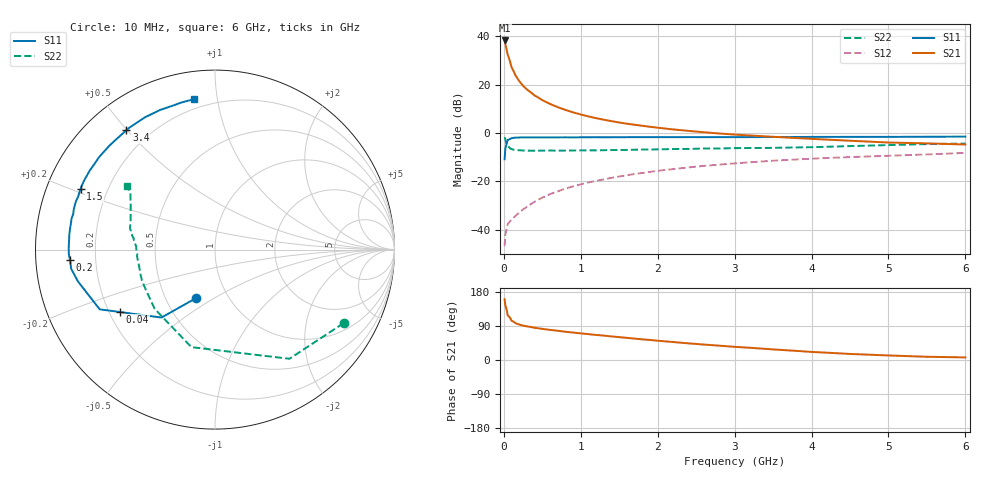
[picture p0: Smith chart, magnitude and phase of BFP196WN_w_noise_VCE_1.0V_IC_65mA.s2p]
! Infineon Technologies  Discrete & RF Semiconductors
! BFP196WN
! VCE =  1.0 V,  IC =  65 mA
! Common Emitter S-Parameters:  Jan 2017
# GHz  S  MA  R  50
!  f  S11  S21  S12  S22
! GHz  MAG  ANG  MAG  ANG  MAG  ANG  MAG  ANG
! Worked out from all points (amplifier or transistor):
!   77 points, 10 MHz to 6 GHz, reference 50 ohm
!   highest |S21| = 38.3 dB at 10 MHz (marker M1)
!   |S21| within 3 dB of that: start of sweep to 30.59 MHz
!   unconditionally stable (mu >= 1): 412.3 MHz to 3.3 GHz; 4.695 GHz to 5.16 GHz
!   at 130 MHz: K = 0.68, MSG = 30.1 dB, |S12| = -34.9 dB
!   at 2.2 GHz: K = 1.04, MAG = 7.0 dB, |S12| = -14.9 dB
!   at 6 GHz: K = 0.97, MSG = 1.7 dB, |S12| = -8.2 dB
!   lowest NFmin = 1.43 dB at 450 MHz
!   S11 on the Smith chart (normalised r, x): 10 MHz: 0.71, -0.42; 40 MHz: 0.24, -0.28; 200 MHz: 0.11, -0.03; 1.5 GHz: 0.10, +0.21; 3.4 GHz: 0.12, +0.50; 6 GHz: 0.15, +0.86
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0.01  0.2879 -111.0  82.12 160.3  0.0046 67.6  0.8251 -29.8
0.02  0.4816 -128.2  68.81 143.5  0.008 62.2  0.7363 -55.7
0.04  0.632 -146.6  49.51 129.4  0.0113 47.5  0.5673 -84.9
0.05  0.7235 -152.6  41.74 117.8  0.0131 43.0  0.5591 -103.6
0.1  0.7842 -167.0  22.95 103.5  0.0162 45.3  0.4711 -135.5
0.15  0.8084 -172.4  15.69 97.3  0.0193 50.6  0.446 -149.7
0.2  0.81 -176.0  11.86 93.6  0.0229 57.0  0.4418 -157.2
0.25  0.8147 -178.2  9.517 90.8  0.0265 58.9  0.4373 -161.7
0.3  0.8153 179.6  7.953 88.7  0.0299 61.3  0.4336 -165.5
0.4  0.8146 176.6  5.99 85.0  0.0381 65.6  0.4328 -169.7
0.5  0.816 174.0  4.799 82.1  0.0462 67.6  0.4347 -172.8
0.6  0.816 171.8  4.012 79.5  0.0547 68.1  0.4358 -175.2
0.7  0.8158 169.9  3.438 77.2  0.0624 69.5  0.4336 -177.0
0.9  0.8146 165.9  2.679 72.4  0.0791 69.0  0.4377 -179.5
1.1  0.8193 162.3  2.21 68.2  0.0955 68.9  0.4396 178.2
1.5  0.8213 155.8  1.654 60.3  0.1267 66.2  0.4471 174.7
2.1  0.8243 146.2  1.24 49.2  0.1731 61.4  0.4645 171.0
3.1  0.8248 131.0  0.911 33.5  0.2425 52.0  0.49 165.0
3.4  0.8282 126.6  0.856 29.4  0.262 49.1  0.4938 162.5
4.1  0.8336 116.6  0.746 20.3  0.3003 42.6  0.5164 155.5
5.1  0.8363 105.8  0.633 11.3  0.3443 34.7  0.5704 146.2
6  0.8461 98.0  0.58 6.8  0.3891 28.7  0.6076 144.1
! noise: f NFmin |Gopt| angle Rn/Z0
0.45  1.43  0.56  -176  0.05
0.9  1.55  0.58  -169  0.06
1.9  2.48  0.69  -147  0.18
2.4  3.26  0.7  -139  0.31
